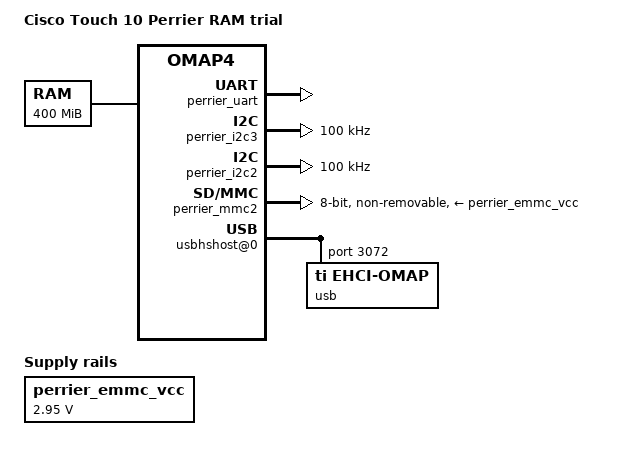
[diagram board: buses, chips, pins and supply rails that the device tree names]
// SPDX-License-Identifier: GPL-2.0-only
// RAM trial: passive simpledrm handoff, UART, USB Ethernet, MMC2, and I2C.
/dts-v1/;
#include "omap4460.dtsi"

/ {
    model = "Cisco Touch 10 Perrier RAM trial";
    compatible = "cisco,perrier-ram", "ti,omap4460", "ti,omap4";
    memory@80000000 {
        device_type = "memory";
        reg = <0x80000000 0x19000000>; // observed low 400 MiB only
    };
    chosen {
        #address-cells = <1>;
        #size-cells = <1>;
        ranges;
        stdout-path = "serial0:115200n8";

        // Stock Phoenix rotates among three contiguous 1280x800 AR24 TILER
        // views. Map the complete inherited pool so userspace can address
        // the current scanout without changing any display hardware state.
        // simpledrm registration only: no fbdev client, console, or pixel write.
        framebuffer@7ec78000 {
            compatible = "simple-framebuffer";
            reg = <0x7ec78000 0x00bb8000>;
            width = <1280>;
            height = <800>;
            stride = <5120>;
            format = "a8r8g8b8";
        };
    };
    aliases {
        serial0 = &perrier_uart;
        mmc0 = &perrier_mmc2;
        i2c1 = &perrier_i2c2;
        i2c2 = &perrier_i2c3;
        /delete-property/ i2c0;
        /delete-property/ i2c3;
        /delete-property/ serial1;
        /delete-property/ serial2;
        /delete-property/ serial3;
        /delete-property/ mmc1;
        /delete-property/ mmc2;
        /delete-property/ mmc3;
        /delete-property/ mmc4;
    };
    // Stock UART3 is already muxed and clocked at 48 MHz. No pad/GPIO writes.
    perrier_uart: serial@48020000 {
        compatible = "ti,omap4-uart";
        reg = <0x48020000 0x100>;
        interrupts = <GIC_SPI 74 IRQ_TYPE_LEVEL_HIGH>;
        interrupt-parent = <&gic>;
        clock-frequency = <48000000>;
    };

    // Stock board data advertises OCR bit 0x20000 (2.9-3.0 V) for MMC2.
    // This fixed-regulator declaration has no enable GPIO and cannot change
    // the physical rail. The real board power sequence is still inherited.
    perrier_emmc_vcc: regulator-emmc-vcc {
        compatible = "regulator-fixed";
        regulator-name = "perrier-emmc-vcc";
        regulator-min-microvolt = <2950000>;
        regulator-max-microvolt = <2950000>;
        regulator-always-on;
    };

    // OMAP I2C3 is the stock display bridge bus at 0x48060000. Register
    // only the controller; do not instantiate the bridge or issue transfers.
    target-module@48060000 {
        compatible = "ti,sysc-omap2", "ti,sysc";
        reg = <0x48060000 0x8>, <0x48060010 0x8>, <0x48060090 0x8>;
        reg-names = "rev", "sysc", "syss";
        ti,sysc-mask = <(SYSC_OMAP2_CLOCKACTIVITY |
                         SYSC_OMAP2_ENAWAKEUP |
                         SYSC_OMAP2_SOFTRESET |
                         SYSC_OMAP2_AUTOIDLE)>;
        ti,sysc-sidle = <SYSC_IDLE_FORCE>, <SYSC_IDLE_NO>,
                        <SYSC_IDLE_SMART>, <SYSC_IDLE_SMART_WKUP>;
        ti,syss-mask = <1>;
        clocks = <&l4_per_clkctrl OMAP4_I2C3_CLKCTRL 0>;
        clock-names = "fck";
        #address-cells = <1>;
        #size-cells = <1>;
        ranges = <0 0x48060000 0x1000>;

        perrier_i2c3: i2c@0 {
            compatible = "ti,omap4-i2c";
            reg = <0 0x100>;
            interrupts = <GIC_SPI 61 IRQ_TYPE_LEVEL_HIGH>;
            clock-frequency = <100000>;
            #address-cells = <1>;
            #size-cells = <0>;
        };
    };

    // OMAP I2C2 is the stock touchscreen bus at 0x48072000. Probe only the
    // controller: no child device, GPIO, pinmux or regulator is present.
    target-module@48072000 {
        compatible = "ti,sysc-omap2", "ti,sysc";
        reg = <0x48072000 0x8>, <0x48072010 0x8>, <0x48072090 0x8>;
        reg-names = "rev", "sysc", "syss";
        ti,sysc-mask = <(SYSC_OMAP2_CLOCKACTIVITY |
                         SYSC_OMAP2_ENAWAKEUP |
                         SYSC_OMAP2_SOFTRESET |
                         SYSC_OMAP2_AUTOIDLE)>;
        ti,sysc-sidle = <SYSC_IDLE_FORCE>, <SYSC_IDLE_NO>,
                        <SYSC_IDLE_SMART>, <SYSC_IDLE_SMART_WKUP>;
        ti,syss-mask = <1>;
        clocks = <&l4_per_clkctrl OMAP4_I2C2_CLKCTRL 0>;
        clock-names = "fck";
        #address-cells = <1>;
        #size-cells = <1>;
        ranges = <0 0x48072000 0x1000>;

        perrier_i2c2: i2c@0 {
            compatible = "ti,omap4-i2c";
            reg = <0 0x100>;
            interrupts = <GIC_SPI 57 IRQ_TYPE_LEVEL_HIGH>;
            clock-frequency = <100000>;
            #address-cells = <1>;
            #size-cells = <0>;
        };
    };

    // MMC2 requires the OMAP system DMA controller in Linux 6.18.
    target-module@4a056000 {
        compatible = "ti,sysc-omap2", "ti,sysc";
        reg = <0x4a056000 0x4>, <0x4a05602c 0x4>, <0x4a056028 0x4>;
        reg-names = "rev", "sysc", "syss";
        ti,sysc-mask = <(SYSC_OMAP2_CLOCKACTIVITY |
                         SYSC_OMAP2_EMUFREE |
                         SYSC_OMAP2_SOFTRESET |
                         SYSC_OMAP2_AUTOIDLE)>;
        ti,sysc-midle = <SYSC_IDLE_FORCE>, <SYSC_IDLE_NO>, <SYSC_IDLE_SMART>;
        ti,sysc-sidle = <SYSC_IDLE_FORCE>, <SYSC_IDLE_NO>, <SYSC_IDLE_SMART>;
        ti,syss-mask = <1>;
        clocks = <&l3_dma_clkctrl OMAP4_DMA_SYSTEM_CLKCTRL 0>;
        clock-names = "fck";
        #address-cells = <1>;
        #size-cells = <1>;
        ranges = <0 0x4a056000 0x1000>;

        perrier_sdma: dma-controller@0 {
            compatible = "ti,omap4430-sdma", "ti,omap-sdma";
            reg = <0 0x1000>;
            interrupts = <GIC_SPI 12 IRQ_TYPE_LEVEL_HIGH>,
                         <GIC_SPI 13 IRQ_TYPE_LEVEL_HIGH>,
                         <GIC_SPI 14 IRQ_TYPE_LEVEL_HIGH>,
                         <GIC_SPI 15 IRQ_TYPE_LEVEL_HIGH>;
            #dma-cells = <1>;
            dma-channels = <32>;
            dma-requests = <127>;
        };
    };

    target-module@480b4000 {
        compatible = "ti,sysc-omap4", "ti,sysc";
        reg = <0x480b4000 0x4>, <0x480b4010 0x4>;
        reg-names = "rev", "sysc";
        ti,sysc-mask = <(SYSC_OMAP4_FREEEMU | SYSC_OMAP4_SOFTRESET)>;
        ti,sysc-midle = <SYSC_IDLE_FORCE>, <SYSC_IDLE_NO>,
                         <SYSC_IDLE_SMART>, <SYSC_IDLE_SMART_WKUP>;
        ti,sysc-sidle = <SYSC_IDLE_FORCE>, <SYSC_IDLE_NO>,
                         <SYSC_IDLE_SMART>, <SYSC_IDLE_SMART_WKUP>;
        clocks = <&l3_init_clkctrl OMAP4_MMC2_CLKCTRL 0>;
        clock-names = "fck";
        #address-cells = <1>;
        #size-cells = <1>;
        ranges = <0 0x480b4000 0x1000>;

        perrier_mmc2: mmc@0 {
            compatible = "ti,omap4-hsmmc";
            reg = <0 0x400>;
            interrupts = <GIC_SPI 86 IRQ_TYPE_LEVEL_HIGH>;
            ti,needs-special-reset;
            non-removable;
            ti,non-removable;
            bus-width = <8>;
            max-frequency = <26000000>;
            vmmc-supply = <&perrier_emmc_vcc>;
            dmas = <&perrier_sdma 47>, <&perrier_sdma 48>;
            dma-names = "tx", "rx";
        };
    };

    // Only the OMAP USB host target is populated. Its port 1 connects to the
    // board's already powered external PHY and SMSC95xx LAN chip. The stock
    // GPIO/pad state is inherited across kexec; this DT makes no GPIO writes.
    target-module@4a064000 {
        compatible = "ti,sysc-omap4", "ti,sysc";
        reg = <0x4a064000 0x4>, <0x4a064010 0x4>, <0x4a064014 0x4>;
        reg-names = "rev", "sysc", "syss";
        ti,sysc-mask = <SYSC_OMAP4_SOFTRESET>;
        ti,sysc-midle = <SYSC_IDLE_FORCE>, <SYSC_IDLE_NO>,
                         <SYSC_IDLE_SMART>, <SYSC_IDLE_SMART_WKUP>;
        ti,sysc-sidle = <SYSC_IDLE_FORCE>, <SYSC_IDLE_NO>,
                         <SYSC_IDLE_SMART>, <SYSC_IDLE_SMART_WKUP>;
        clocks = <&l3_init_clkctrl OMAP4_USB_HOST_HS_CLKCTRL 0>;
        clock-names = "fck";
        #address-cells = <1>;
        #size-cells = <1>;
        ranges = <0 0x4a064000 0x1000>;

        usbhshost@0 {
            compatible = "ti,usbhs-host";
            reg = <0 0x800>;
            num-ports = <2>;
            port1-mode = "ehci-phy";
            #address-cells = <1>;
            #size-cells = <1>;
            ranges = <0 0 0x1000>;
            clocks = <&l3_init_clkctrl OMAP4_USB_HOST_HS_CLKCTRL 24>,
                     <&l3_init_clkctrl OMAP4_USB_HOST_HS_CLKCTRL 25>,
                     <&xclk60mhsp1_ck>, <&xclk60mhsp2_ck>,
                     <&init_60m_fclk>,
                     <&l3_init_clkctrl OMAP4_USB_HOST_HS_CLKCTRL 8>,
                     <&l3_init_clkctrl OMAP4_USB_HOST_HS_CLKCTRL 9>,
                     <&l3_init_clkctrl OMAP4_USB_HOST_HS_CLKCTRL 13>,
                     <&l3_init_clkctrl OMAP4_USB_HOST_HS_CLKCTRL 14>,
                     <&l3_init_clkctrl OMAP4_USB_HOST_HS_CLKCTRL 11>,
                     <&l3_init_clkctrl OMAP4_USB_HOST_HS_CLKCTRL 12>;
            clock-names = "utmi_p1_gfclk", "utmi_p2_gfclk",
                          "refclk_60m_ext_p1", "refclk_60m_ext_p2",
                          "refclk_60m_int",
                          "usb_host_hs_utmi_p1_clk", "usb_host_hs_utmi_p2_clk",
                          "usb_host_hs_hsic480m_p1_clk", "usb_host_hs_hsic480m_p2_clk",
                          "usb_host_hs_hsic60m_p1_clk", "usb_host_hs_hsic60m_p2_clk";

            usb@c00 {
                compatible = "ti,ehci-omap";
                reg = <0xc00 0x400>;
                interrupts = <GIC_SPI 77 IRQ_TYPE_LEVEL_HIGH>;
                #address-cells = <1>;
                #size-cells = <0>;

                ethernet@1 {
                    compatible = "usb424,9e00";
                    reg = <1>;
                    local-mac-address = [24 16 9d b6 77 bb];
                };
            };
        };
    };
};

// Do not populate generic peripheral targets. Early OF clock and timer
// initialization uses the retained SoC descriptions independently of this bus.
&{/ocp} { status = "disabled"; };
&cpu0 { /delete-property/ operating-points; };
&{/cpus/cpu@1} { status = "disabled"; };
&abb_mpu { status = "disabled"; };
&abb_iva { status = "disabled"; };
&bandgap { status = "disabled"; };
&{/thermal-zones} { status = "disabled"; };
&{/local-timer@48240600} { status = "disabled"; };

// Both watchdog targets must be invisible to ti-sysc and watchdog drivers.
&wdt2 { status = "disabled"; };
&wdt3 { status = "disabled"; };
&{/ocp/interconnect@4a300000/segment@10000/target-module@4000} {
    status = "disabled";
};
&{/ocp/interconnect@40100000/segment@0/target-module@30000} {
    status = "disabled";
};
// Prevent early timer discovery from choosing another board's peripheral.
&timer2 { status = "disabled"; };
&timer3 { status = "disabled"; };
&timer4 { status = "disabled"; };
&timer5 { status = "disabled"; };
&timer6 { status = "disabled"; };
&timer7 { status = "disabled"; };
&timer8 { status = "disabled"; };
&timer9 { status = "disabled"; };
&timer10 { status = "disabled"; };
&timer11 { status = "disabled"; };
